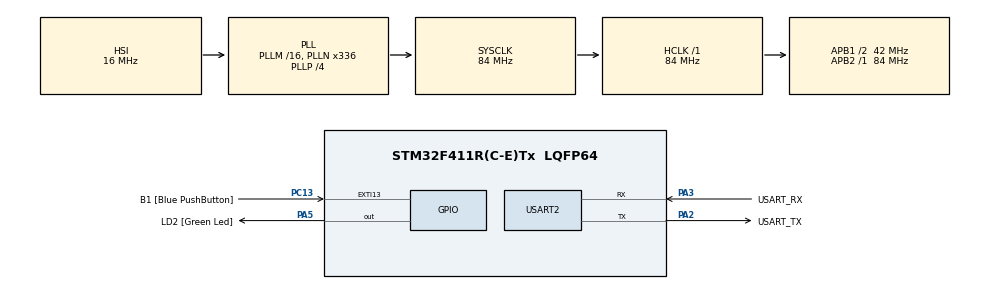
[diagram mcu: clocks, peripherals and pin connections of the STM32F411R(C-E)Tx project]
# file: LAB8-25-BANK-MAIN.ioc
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Mcu.Family=STM32F4
PC15-OSC32_OUT.Mode=LSE-External-Oscillator
RCC.CortexFreq_Value=84000000
PC13-ANTI_TAMP.GPIO_Label=B1 [Blue PushButton]
PA14.GPIO_Label=TCK
PH1\ -\ OSC_OUT.Mode=HSE-External-Clock-Source
RCC.APB1CLKDivider=RCC_HCLK_DIV2
PC14-OSC32_IN.Signal=RCC_OSC32_IN
NVIC.USART2_IRQn=true\:0\:0\:false\:false\:true\:true\:true
RCC.SYSCLKSource=RCC_SYSCLKSOURCE_PLLCLK
ProjectManager.StackSize=0x400
PA13.Signal=SYS_JTMS-SWDIO
PA3.Mode=Asynchronous
PH0\ -\ OSC_IN.Mode=HSE-External-Clock-Source
PH0\ -\ OSC_IN.Signal=RCC_OSC_IN
ProjectManager.TargetToolchain=STM32CubeIDE
RCC.HCLKFreq_Value=84000000
RCC.APB2TimFreq_Value=84000000
PC15-OSC32_OUT.Signal=RCC_OSC32_OUT
RCC.AHBFreq_Value=84000000
PA5.Signal=GPIO_Output
RCC.HSE_VALUE=8000000
PH1\ -\ OSC_OUT.Signal=RCC_OSC_OUT
board=NUCLEO-F411RE
PC13-ANTI_TAMP.Signal=GPXTI13
RCC.VCOOutputFreq_Value=336000000
RCC.APB2Freq_Value=84000000
PC14-OSC32_IN.Mode=LSE-External-Oscillator
PA14.Mode=Serial_Wire
PA13.Mode=Serial_Wire
Mcu.Name=STM32F411R(C-E)Tx
PA2.Signal=USART2_TX
PA13.GPIO_Label=TMS
RCC.FLatency-AdvancedSettings=FLASH_LATENCY_2
RCC.48MHZClocksFreq_Value=84000000
PB3.Signal=SYS_JTDO-SWO
RCC.SYSCLKFreq_VALUE=84000000
Mcu.Package=LQFP64
PA5.GPIO_Label=LD2 [Green Led]
USART2.VirtualMode=VM_ASYNC
PC13-ANTI_TAMP.GPIO_ModeDefaultEXTI=GPIO_MODE_IT_FALLING
PA2.GPIO_Label=USART_TX
PA14.Signal=SYS_JTCK-SWCLK
ProjectManager.HeapSize=0x200
RCC.HSI_VALUE=16000000
RCC.PLLP=RCC_PLLP_DIV4
NVIC.PriorityGroup=NVIC_PRIORITYGROUP_0
RCC.PLLN=336
RCC.APB1TimFreq_Value=84000000
PA2.Mode=Asynchronous
RCC.APB1Freq_Value=42000000
PA3.GPIO_Label=USART_RX
PA3.Signal=USART2_RX
PB3.GPIO_Label=SWO

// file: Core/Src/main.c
/* USER CODE BEGIN Header */
/**
  ******************************************************************************
  * @file           : main.c
  * @brief          : Main program body
  ******************************************************************************
  * @attention
  *
  * <h2><center>&copy; Copyright (c) 2021 STMicroelectronics.
  * All rights reserved.</center></h2>
  *
  * This software component is licensed by ST under BSD 3-Clause license,
  * the "License"; You may not use this file except in compliance with the
  * License. You may obtain a copy of the License at:
  *                        opensource.org/licenses/BSD-3-Clause
  *
  ******************************************************************************
  */
/* USER CODE END Header */
#include "main.h"

/* USER CODE BEGIN Includes */
#include <stdio.h>   //sprintf
#include <string.h>   //strlen
/* USER CODE END Includes */

UART_HandleTypeDef huart2;

/* USER CODE BEGIN PV */
GPIO_PinState SwitchState[2];
float ready = 0;
float button = 0;
uint32_t frequency = 1;
uint32_t TimeStamp = 0;
uint32_t LED1_HalfPeriod = 1000;
float ONOFF = 0;
float zero = 0;
char TxDataBuffer[32] =
{ 0 };
char RxDataBuffer[32] =
{ 0 };

enum state
{
	mainmenu = 0,
	mainmenuwait,
	menuledcontrol,
	menuledcontrolwait,
	menubuttonstatus,
	menubuttonstatuswait,
	menubuttonstatuswait1,
};

uint8_t state = mainmenu;
uint16_t test = 0;
/* USER CODE END PV */

void SystemClock_Config(void);
static void MX_GPIO_Init(void);
static void MX_USART2_UART_Init(void);
/* USER CODE BEGIN PFP */
void UARTRecieveAndResponsePolling();
int16_t UARTRecieveIT();
/* USER CODE END PFP */

int main(void)
{

  /* MCU Configuration--------------------------------------------------------*/

  /* Reset of all peripherals, Initializes the Flash interface and the Systick. */
  HAL_Init();

  /* Configure the system clock */
  SystemClock_Config();

  /* Initialize all configured peripherals */
  MX_GPIO_Init();
  MX_USART2_UART_Init();
  /* USER CODE BEGIN 2 */
  {
	  //char temp[]="HELLO WORLD\r\n please type something to test UART\r\n";
	 // char temp[]="MAIN MENU\r\n please type something to test UART\r\n";
	  //ประกาศ array , \r\n ขึ้นบรรทัดใหม่ของ ภาษา c
	  //HAL_UART_Transmit(&huart2, (uint8_t*)temp, strlen(temp),10);
	  //strlen วางไว้ข้างหน้าตัวเเปรที่เราอยากจะเขียน ข้อความได้เลยอย่างเช่นอันนี้คือวางไว้ข้างหน้า temp ซึ่งนั้นก็คือตัวที่อยากจะทำการเขียนก็คือตัวเเปร temp
	  //
	  //uint8 temp ถ้าไม่ใส่ uint8 คือใส่เเต่ temp เลยมันจะขึ้น warning ว่ามันเป็นไฟล์เเปลกๆนะ

	  //สามารถเขียนเป็น case ได้
	  //if(HAL_UART_Transmit(&huart2, (uint8_t*)temp, strlen(temp),10) ≠ HAL_OK)
	  //{
	  	  	  //Error
	  //}

  }
  //ปีกกาทำให้ประหยัด memorie ขึ้นหรือเรียกอีกอย่างว่ากำหนดขอบเขตการทำงานของมันได้
  //ปีกกาเพื่อ จำกัดขอบเขตของตัวเเปรได้
  /* USER CODE END 2 */

  /* Infinite loop */
  /* USER CODE BEGIN WHILE */
  while (1)
  {
	  /*Method 1 Polling Mode*/

	  		//UARTRecieveAndResponsePolling();

	  		/*Method 2 Interrupt Mode*/
	  		HAL_UART_Receive_IT(&huart2,  (uint8_t*)RxDataBuffer, 32);
	  		//กำหนดขนาดตรงนี้อันสุดท้ายสุด
            //จะเห็นจากlive expression ว่าตัวอักษรอะมันเข้าระบบไปเเล้วเเต่การจะ received ออกมาได้คือต้อง
	  	//รอจนมันครบตัวที่ เรากำหนด เช่นเรากำหนดไว้ 32 มันก็จะรอจนกว่าจะครบตัวที่ 32 ถึงค่อย received
	  	//ใน huart2 เนี้ยมันจะมีตัวเเปร 	RxXferSize,RxXferCount
	  		//RxXferSize เท่ากับขนาดข้อมูลที่เราตั้งไว้ว่าให้มัน received ได้ครั้งนึงสมมติตั้ง 32 เเล้ว received คร้งนึ RxXferSizeจะขึ้นว่า 32
	  		//RxXferCount มันคือจะนับให้เราว่าเราพิมพ์ไปถึงตัวที่เท่าไหร่เเล้วเเต่มันจะเริ่มนับตั้งเเต่ 32->0 ทุกครั้งที่พิมพ์มันจะตกมาเรื่อยๆ โดยเริ่มจาก 32 เเละตกลงมาเรื่อยๆทุกครั้งที่เราพิมพ์เเละเมื่อมันถึง 0 ก้จะเริ่ม interupt ใหม่เป็น 32

	  		/*Method 2 W/ 1 Char Received*/
	  		int16_t inputchar = UARTRecieveIT();
	  		if(inputchar!=-1)
	  		{

	  			sprintf(TxDataBuffer, "ReceivedChar:[%c]\r\n", inputchar);
	  			HAL_UART_Transmit(&huart2, (uint8_t*)TxDataBuffer, strlen(TxDataBuffer), 1000);
	  		}
	  		//receivedchar[a]
	  		//receivedchar[b]
	  		//receivedchar[c]
	  		//received[abcd]
	  		//receivedchar[d]

	  		/*This section just simmulate Work Load*/
//	  		HAL_Delay(100);
//	  		HAL_GPIO_TogglePin(LD2_GPIO_Port, LD2_Pin);
	  		SwitchState[0] = HAL_GPIO_ReadPin(GPIOC, GPIO_PIN_13);
		  	if(SwitchState[0] == GPIO_PIN_RESET && SwitchState[1] == GPIO_PIN_SET && ready == 1)
		  	{
//			  	sprintf(TxDataBuffer, "Button:Press\r\n", inputchar);
//			  	HAL_UART_Transmit(&huart2, (uint8_t*)TxDataBuffer, strlen(TxDataBuffer), 1000);
		  		button = 1;
		  	}
		  	else if(SwitchState[0] == GPIO_PIN_SET && SwitchState[1] == GPIO_PIN_SET && ready == 1)
		  	{
		  		button = 0;
		  	}
		  	SwitchState[1] = SwitchState[0];

	  		LED1_HalfPeriod = ((1000/frequency)/2);

	  		if(ONOFF == 1 && zero == 0)
			{
	  			if(HAL_GetTick() - TimeStamp >= LED1_HalfPeriod)
				{
	  				TimeStamp = HAL_GetTick();
	  				HAL_GPIO_TogglePin(LD2_GPIO_Port, LD2_Pin);
				}
			}

			switch(state)
	  		{
	  			case mainmenu:
	  				sprintf(TxDataBuffer, "MainMenu\r\n0:LED CONTROL\r\n1:Button Status\r\n", inputchar);
	  				HAL_UART_Transmit(&huart2, (uint8_t*)TxDataBuffer, strlen(TxDataBuffer), 1000);
	  				state = mainmenuwait;
	  				break;
	  			case mainmenuwait:
	  				switch(inputchar)
	  				{
	  					case '0':
	  					  	state = menuledcontrol;
	  					  	break;
	  					case '1':
	  						state = menubuttonstatus;
	  					  	break;
	  					case -1:
	  						break;
	  					default:
	  		  				sprintf(TxDataBuffer, "wrong\r\n");
	  		  				HAL_UART_Transmit(&huart2, (uint8_t*)TxDataBuffer, strlen(TxDataBuffer), 1000);
	  		  				break;

	  				}
	  				break;
	  			case menuledcontrol:
	  				sprintf(TxDataBuffer, "LED CONTROL\r\na:Speed Up +1Hz\r\ns:Speed Down -1Hz\r\nd:On/off\r\nx:back\r\n", inputchar);
	  				HAL_UART_Transmit(&huart2, (uint8_t*)TxDataBuffer, strlen(TxDataBuffer), 1000);
	  				state = menuledcontrolwait;
	  				break;
	  			case menuledcontrolwait:
	  				switch(inputchar)
	  				{
	  					case 'a':
	  						if(frequency < 10 && ONOFF == 1 && frequency > 1)
	  						{
	  							frequency += 1;
	  							if(frequency == 0)
	  							{
	  								sprintf(TxDataBuffer, "Present Frequency = 0 Hz\r\n", inputchar);
	  								HAL_UART_Transmit(&huart2, (uint8_t*)TxDataBuffer, strlen(TxDataBuffer), 1000);
	  							}
	  							else if(frequency == 1)
	  							{
	  								sprintf(TxDataBuffer, "Present Frequency = 1 Hz\r\n", inputchar);
	  								HAL_UART_Transmit(&huart2, (uint8_t*)TxDataBuffer, strlen(TxDataBuffer), 1000);
	  							}
	  							else if(frequency == 2)
	  							{
	  								sprintf(TxDataBuffer, "Present Frequency = 2 Hz\r\n", inputchar);
	  							  	HAL_UART_Transmit(&huart2, (uint8_t*)TxDataBuffer, strlen(TxDataBuffer), 1000);
	  							}
	  							else if(frequency == 3)
	  							{
	  								sprintf(TxDataBuffer, "Present Frequency = 3 Hz\r\n", inputchar);
	  								HAL_UART_Transmit(&huart2, (uint8_t*)TxDataBuffer, strlen(TxDataBuffer), 1000);
	  							}
	  							else if(frequency == 4)
	  							{
	  								sprintf(TxDataBuffer, "Present Frequency = 4 Hz\r\n", inputchar);
	  								HAL_UART_Transmit(&huart2, (uint8_t*)TxDataBuffer, strlen(TxDataBuffer), 1000);
	  							}
	  							else if(frequency == 5)
	  							{
	  								sprintf(TxDataBuffer, "Present Frequency = 5 Hz\r\n", inputchar);
	  								HAL_UART_Transmit(&huart2, (uint8_t*)TxDataBuffer, strlen(TxDataBuffer), 1000);
	  							}
	  							else if(frequency == 6)
	  							{
	  								sprintf(TxDataBuffer, "Present Frequency = 6 Hz\r\n", inputchar);
	  								HAL_UART_Transmit(&huart2, (uint8_t*)TxDataBuffer, strlen(TxDataBuffer), 1000);
	  							}
	  							else if(frequency == 7)
	  							{
	  								sprintf(TxDataBuffer, "Present Frequency = 7 Hz\r\n", inputchar);
	  								HAL_UART_Transmit(&huart2, (uint8_t*)TxDataBuffer, strlen(TxDataBuffer), 1000);
	  							}
	  							else if(frequency == 8)
	  							{
	  								sprintf(TxDataBuffer, "Present Frequency = 8 Hz\r\n", inputchar);
	  								HAL_UART_Transmit(&huart2, (uint8_t*)TxDataBuffer, strlen(TxDataBuffer), 1000);
	  							}
	  							else if(frequency == 9)
	  							{
	  								sprintf(TxDataBuffer, "Present Frequency = 9 Hz\r\n", inputchar);
	  								HAL_UART_Transmit(&huart2, (uint8_t*)TxDataBuffer, strlen(TxDataBuffer), 1000);
	  							}
	  							else if(frequency == 10)
	  							{
	  								sprintf(TxDataBuffer, "Present Frequency = 10 Hz\r\n", inputchar);
	  								HAL_UART_Transmit(&huart2, (uint8_t*)TxDataBuffer, strlen(TxDataBuffer), 1000);
	  							}
	  						}
	  						else if(frequency == 1 && ONOFF == 1 && zero == 1)
	  						{
	  							zero = 0;
	  							sprintf(TxDataBuffer, "Present Frequency = 1 Hz\r\n", inputchar);
	  							HAL_UART_Transmit(&huart2, (uint8_t*)TxDataBuffer, strlen(TxDataBuffer), 1000);
	  						}
	  						else if(frequency == 1 && ONOFF == 1)
	  						{
	  							frequency += 1;
	  							sprintf(TxDataBuffer, "Present Frequency = 2 Hz\r\n", inputchar);
	  							HAL_UART_Transmit(&huart2, (uint8_t*)TxDataBuffer, strlen(TxDataBuffer), 1000);
	  						}
	  						else if(frequency == 10 && ONOFF == 1)
	  						{
	  							sprintf(TxDataBuffer, "Present Frequency = 10 Hz\r\n", inputchar);
	  							HAL_UART_Transmit(&huart2, (uint8_t*)TxDataBuffer, strlen(TxDataBuffer), 1000);
	  						}
	  						break;
	  					case 's':
	  						if(frequency > 1 && ONOFF == 1)
	  						{
	  							frequency -= 1;
	  							if(frequency == 0)
	  							{
	  								sprintf(TxDataBuffer, "Present Frequency = 0 Hz\r\n", inputchar);
	  								HAL_UART_Transmit(&huart2, (uint8_t*)TxDataBuffer, strlen(TxDataBuffer), 1000);
	  							}
	  							else if(frequency == 1)
	  							{
	  								sprintf(TxDataBuffer, "Present Frequency = 1 Hz\r\n", inputchar);
	  								HAL_UART_Transmit(&huart2, (uint8_t*)TxDataBuffer, strlen(TxDataBuffer), 1000);
	  							}
	  							else if(frequency == 2)
	  							{
	  								sprintf(TxDataBuffer, "Present Frequency = 2 Hz\r\n", inputchar);
	  							  	HAL_UART_Transmit(&huart2, (uint8_t*)TxDataBuffer, strlen(TxDataBuffer), 1000);
	  							}
	  							else if(frequency == 3)
	  							{
	  								sprintf(TxDataBuffer, "Present Frequency = 3 Hz\r\n", inputchar);
	  								HAL_UART_Transmit(&huart2, (uint8_t*)TxDataBuffer, strlen(TxDataBuffer), 1000);
	  							}
	  							else if(frequency == 4)
	  							{
	  								sprintf(TxDataBuffer, "Present Frequency = 4 Hz\r\n", inputchar);
	  								HAL_UART_Transmit(&huart2, (uint8_t*)TxDataBuffer, strlen(TxDataBuffer), 1000);
	  							}
	  							else if(frequency == 5)
	  							{
	  								sprintf(TxDataBuffer, "Present Frequency = 5 Hz\r\n", inputchar);
	  								HAL_UART_Transmit(&huart2, (uint8_t*)TxDataBuffer, strlen(TxDataBuffer), 1000);
	  							}
	  							else if(frequency == 6)
	  							{
	  								sprintf(TxDataBuffer, "Present Frequency = 6 Hz\r\n", inputchar);
	  								HAL_UART_Transmit(&huart2, (uint8_t*)TxDataBuffer, strlen(TxDataBuffer), 1000);
	  							}
	  							else if(frequency == 7)
	  							{
	  								sprintf(TxDataBuffer, "Present Frequency = 7 Hz\r\n", inputchar);
	  								HAL_UART_Transmit(&huart2, (uint8_t*)TxDataBuffer, strlen(TxDataBuffer), 1000);
	  							}
	  							else if(frequency == 8)
	  							{
	  								sprintf(TxDataBuffer, "Present Frequency = 8 Hz\r\n", inputchar);
	  								HAL_UART_Transmit(&huart2, (uint8_t*)TxDataBuffer, strlen(TxDataBuffer), 1000);
	  							}
	  							else if(frequency == 9)
	  							{
	  								sprintf(TxDataBuffer, "Present Frequency = 9 Hz\r\n", inputchar);
	  								HAL_UART_Transmit(&huart2, (uint8_t*)TxDataBuffer, strlen(TxDataBuffer), 1000);
	  							}
	  							else if(frequency == 10)
	  							{
	  								sprintf(TxDataBuffer, "Present Frequency = 10 Hz\r\n", inputchar);
	  								HAL_UART_Transmit(&huart2, (uint8_t*)TxDataBuffer, strlen(TxDataBuffer), 1000);
	  							}
	  						}
	  						else if(frequency == 1 && ONOFF == 1)
	  						{
	  							zero = 1;
		  						if(HAL_GPIO_ReadPin(GPIOA, GPIO_PIN_5) == GPIO_PIN_SET)
		  						{
		  							HAL_GPIO_WritePin(GPIOA, GPIO_PIN_5, GPIO_PIN_SET);
		  						}
		  						else if(HAL_GPIO_ReadPin(GPIOA, GPIO_PIN_5) == GPIO_PIN_RESET)
		  						{
		  							HAL_GPIO_WritePin(GPIOA, GPIO_PIN_5, GPIO_PIN_RESET);
		  						}
	  							sprintf(TxDataBuffer, "Present Frequency = 0 Hz\r\n", inputchar);
	  							HAL_UART_Transmit(&huart2, (uint8_t*)TxDataBuffer, strlen(TxDataBuffer), 1000);

	  						}
	  						break;
	  					case 'd':
	  		  				if(ONOFF == 0)
	  		  				{
	  		  					ONOFF = 1;
	  		  				}
	  		  				else if(ONOFF == 1)
	  		  				{
	  		  					ONOFF = 0;
	  							HAL_GPIO_WritePin(GPIOA, GPIO_PIN_5, GPIO_PIN_RESET);
	  		  				}
	  		  				break;
	  					case 'x':
	  						state = mainmenu;
	  						break;
	  					case -1:
	  						break;
	  					default:
	  		  				sprintf(TxDataBuffer, "wrong\r\n");
	  		  				HAL_UART_Transmit(&huart2, (uint8_t*)TxDataBuffer, strlen(TxDataBuffer), 1000);
	  		  				break;
	  				}
	  				break;
	  			case menubuttonstatus:
	  				sprintf(TxDataBuffer, "Button Status\r\nx:back\r\n", inputchar);
	  				HAL_UART_Transmit(&huart2, (uint8_t*)TxDataBuffer, strlen(TxDataBuffer), 1000);
	  				ready = 1;
	  				state = menubuttonstatuswait;
	  				break;
	  			case menubuttonstatuswait:
	  				if(button == 0)
	  				{
		  				sprintf(TxDataBuffer, "Button:Unpress\r\n", inputchar);
		  				HAL_UART_Transmit(&huart2, (uint8_t*)TxDataBuffer, strlen(TxDataBuffer), 1000);
		  				state = menubuttonstatuswait1;
	  				}
	  				switch(inputchar)
	  				{
	  					case 'x':
	  						ready = 0;
	  						state = mainmenu;
	  						break;
	  					case -1:
	  						break;
	  					default:
	  		  				sprintf(TxDataBuffer, "wrong\r\n");
	  		  				HAL_UART_Transmit(&huart2, (uint8_t*)TxDataBuffer, strlen(TxDataBuffer), 1000);
	  		  				break;
	  				}
	  				break;
	  			case menubuttonstatuswait1:
	  				if(button == 1)
	  				{
		  				sprintf(TxDataBuffer, "Button:Press\r\n", inputchar);
		  				HAL_UART_Transmit(&huart2, (uint8_t*)TxDataBuffer, strlen(TxDataBuffer), 1000);
		  				state = menubuttonstatuswait;
	  				}
	  				switch(inputchar)
	  				{
	  					case 'x':
	  						ready = 0;
	  						state = mainmenu;
	  						break;
	  					case -1:
	  						break;
	  					default:
	  		  				sprintf(TxDataBuffer, "wrong\r\n");
	  		  				HAL_UART_Transmit(&huart2, (uint8_t*)TxDataBuffer, strlen(TxDataBuffer), 1000);
	  		  				break;
	  				}
	  				break;
	  		}

    /* USER CODE END WHILE */

  }
}

void SystemClock_Config(void)
{
  RCC_OscInitTypeDef RCC_OscInitStruct = {0};
  RCC_ClkInitTypeDef RCC_ClkInitStruct = {0};

  /** Configure the main internal regulator output voltage
  */
  __HAL_RCC_PWR_CLK_ENABLE();
  __HAL_PWR_VOLTAGESCALING_CONFIG(PWR_REGULATOR_VOLTAGE_SCALE1);
  /** Initializes the RCC Oscillators according to the specified parameters
  * in the RCC_OscInitTypeDef structure.
  */
  RCC_OscInitStruct.OscillatorType = RCC_OSCILLATORTYPE_HSI;
  RCC_OscInitStruct.HSIState = RCC_HSI_ON;
  RCC_OscInitStruct.HSICalibrationValue = RCC_HSICALIBRATION_DEFAULT;
  RCC_OscInitStruct.PLL.PLLState = RCC_PLL_ON;
  RCC_OscInitStruct.PLL.PLLSource = RCC_PLLSOURCE_HSI;
  RCC_OscInitStruct.PLL.PLLM = 16;
  RCC_OscInitStruct.PLL.PLLN = 336;
  RCC_OscInitStruct.PLL.PLLP = RCC_PLLP_DIV4;
  RCC_OscInitStruct.PLL.PLLQ = 4;
  if (HAL_RCC_OscConfig(&RCC_OscInitStruct) != HAL_OK)
  {
    Error_Handler();
  }
  /** Initializes the CPU, AHB and APB buses clocks
  */
  RCC_ClkInitStruct.ClockType = RCC_CLOCKTYPE_HCLK|RCC_CLOCKTYPE_SYSCLK
                              |RCC_CLOCKTYPE_PCLK1|RCC_CLOCKTYPE_PCLK2;
  RCC_ClkInitStruct.SYSCLKSource = RCC_SYSCLKSOURCE_PLLCLK;
  RCC_ClkInitStruct.AHBCLKDivider = RCC_SYSCLK_DIV1;
  RCC_ClkInitStruct.APB1CLKDivider = RCC_HCLK_DIV2;
  RCC_ClkInitStruct.APB2CLKDivider = RCC_HCLK_DIV1;

  if (HAL_RCC_ClockConfig(&RCC_ClkInitStruct, FLASH_LATENCY_2) != HAL_OK)
  {
    Error_Handler();
  }
}

static void MX_USART2_UART_Init(void)
{

  huart2.Instance = USART2;
  huart2.Init.BaudRate = 115200;
  huart2.Init.WordLength = UART_WORDLENGTH_8B;
  huart2.Init.StopBits = UART_STOPBITS_1;
  huart2.Init.Parity = UART_PARITY_NONE;
  huart2.Init.Mode = UART_MODE_TX_RX;
  huart2.Init.HwFlowCtl = UART_HWCONTROL_NONE;
  huart2.Init.OverSampling = UART_OVERSAMPLING_16;
  if (HAL_UART_Init(&huart2) != HAL_OK)
  {
    Error_Handler();
  }

}

static void MX_GPIO_Init(void)
{
  GPIO_InitTypeDef GPIO_InitStruct = {0};

  /* GPIO Ports Clock Enable */
  __HAL_RCC_GPIOC_CLK_ENABLE();
  __HAL_RCC_GPIOH_CLK_ENABLE();
  __HAL_RCC_GPIOA_CLK_ENABLE();
  __HAL_RCC_GPIOB_CLK_ENABLE();

  /*Configure GPIO pin Output Level */
  HAL_GPIO_WritePin(LD2_GPIO_Port, LD2_Pin, GPIO_PIN_RESET);

  /*Configure GPIO pin : B1_Pin */
  GPIO_InitStruct.Pin = B1_Pin;
  GPIO_InitStruct.Mode = GPIO_MODE_IT_FALLING;
  GPIO_InitStruct.Pull = GPIO_NOPULL;
  HAL_GPIO_Init(B1_GPIO_Port, &GPIO_InitStruct);

  /*Configure GPIO pin : LD2_Pin */
  GPIO_InitStruct.Pin = LD2_Pin;
  GPIO_InitStruct.Mode = GPIO_MODE_OUTPUT_PP;
  GPIO_InitStruct.Pull = GPIO_NOPULL;
  GPIO_InitStruct.Speed = GPIO_SPEED_FREQ_LOW;
  HAL_GPIO_Init(LD2_GPIO_Port, &GPIO_InitStruct);

}

/* USER CODE BEGIN 4 */
void UARTRecieveAndResponsePolling() //function ส่งอะไรมาเเล้วรับอะไรไป
{
	char Recieve[32]={0};
//Received ตามไฟกระพริบของ LD2ด้วย ไฟติด received ไฟดับ received เเละใน received สามารถกดเเป้น key พิมพ์ได้
	HAL_UART_Receive(&huart2, (uint8_t*)Recieve, 4, 1000);
//ส่งกลับไป
	//ถ้ากำหนดหลัง receive เป็น 4 เเปลว่าถ้าเรากดเเป้นพิมครบ 4 ตัวมันจะออกจาก function ทันทีเเละเเต่ละอันที่มัน received จะไม่มีทางเกิน 4 ถ้ายังกดไม่ครบ 4 ตัว มันจะ
	//receive ความเร็วตามปกติ เนื่องจากมันยังรอตัวอักษรที่ป้อนเข้าไป เเต่ ถ้าครบเเล้วมันจะออกจาก function ทันที มันจะขึ้น received เร็วมาก
	sprintf(TxDataBuffer, "Received:[%s]\r\n", Recieve);
	HAL_UART_Transmit(&huart2, (uint8_t*)TxDataBuffer, strlen(TxDataBuffer), 1000);
//คือตัว printf มัน print ลงในตัวเเปรซักตัวเเปรนึง
	//print ไว้ใน databuffer ซึ่งมันเป็น global
}

int16_t UARTRecieveIT()
{
	static uint32_t dataPos =0;
	//ประกาศให้ตัวเเปรนี้รักษาค่าเดิมเอาไว้
	int16_t data=-1;
	if(huart2.RxXferSize - huart2.RxXferCount!=dataPos)
	{
		//เพื่อให้ได้ตำเเหน่งของข้อมูล
		data=RxDataBuffer[dataPos];
		dataPos= (dataPos+1)%huart2.RxXferSize;
	}
	return data;
}

void HAL_UART_RxCpltCallback(UART_HandleTypeDef *huart)
{
	sprintf(TxDataBuffer, "Received:[%s]\r\n", RxDataBuffer);
	//HAL_UART_Transmit(&huart2, (uint8_t*)TxDataBuffer, strlen(TxDataBuffer), 1000);
	HAL_UART_Transmit_IT(&huart2, (uint8_t*)TxDataBuffer, strlen(TxDataBuffer));
	//functionนี้คือจะไม่ขึ้น receive จนกว่าจะใส่ข้อมูลครบ ถ้าเรากำหนดขนาด 32  มันจะ received ก็ต่อเมื่อมันครบ 32
}

/* USER CODE END 4 */

void Error_Handler(void)
{
  __disable_irq();
  while (1)
  {
  }
}

/************************ (C) COPYRIGHT STMicroelectronics *****END OF FILE****/
